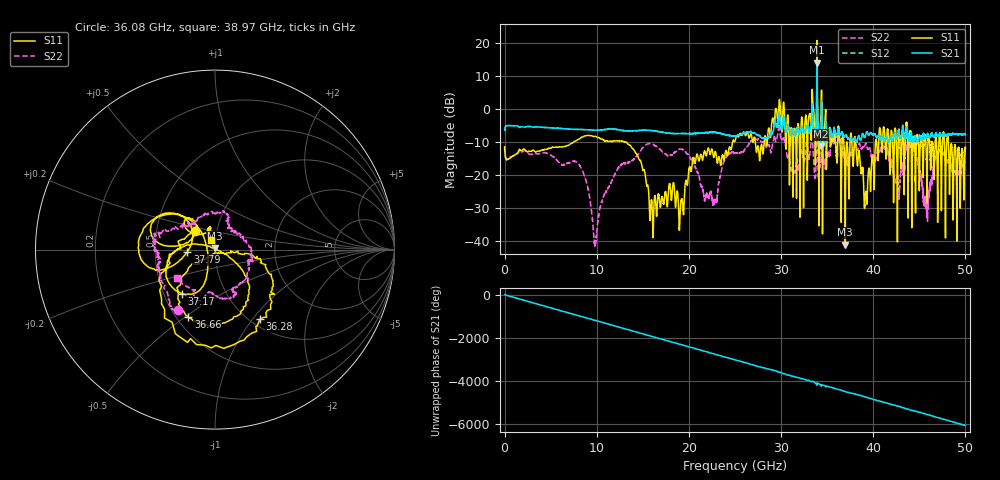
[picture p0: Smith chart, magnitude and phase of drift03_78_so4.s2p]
!Created with skrf (http://scikit-rf.org).
# Hz S RI R 50.0
!freq ReS11 ImS11 ReS21 ImS21 ReS12 ImS12 ReS22 ImS22
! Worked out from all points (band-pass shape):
!   10001 points, 300 kHz to 50 GHz, reference 50 ohm
!   highest |S21| = 14.03 dB at 33.9 GHz (marker M1); lowest = -11.4 dB at 34.32 GHz (marker M2)
!   |S21| within 3 dB of the highest: 33.89005 GHz to 33.90381 GHz (13.76 MHz wide, 0.0406 % of centre)
!   lowest |S11| = -41.0 dB at 36.97 GHz (marker M3), VSWR 1.02, Z = 49.7 + j0.844 ohm
!   |S11| at or under -10 dB: start of sweep to 7.486 GHz; 13.13 GHz to 24.74 GHz (11.62 GHz wide, 61.4 % of centre); 38.09 GHz to 40.25 GHz (2.157 GHz wide, 5.51 % of centre) (the widest 3 of 51)
!   |S22| runs from -41.5 to 6.5 dB; largest |S21 - S12| = 0.37
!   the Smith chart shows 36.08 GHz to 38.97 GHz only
!   S11 on the Smith chart (normalised r, x): 36.08 GHz: 0.78, +0.16; 36.28 GHz: 1.10, -1.09; 36.66 GHz: 0.57, -0.52; 37.17 GHz: 0.62, -0.34; 37.79 GHz: 0.73, -0.02; 38.97 GHz: 0.95, +0.11
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300000  -0.237 -0.1251  0.4671 0.0814  0.4658 0.0813  -0.2352 -0.1282
1.440291e9  0.2099 0.0647  -0.5478 -0.0298  -0.5479 -0.0295  0.2116 -0.00402
2.915283e9  -0.2123 -0.088  0.5342 0.0518  0.5351 0.0517  -0.2019 0.0401
8.33525e9  0.2888 -0.233  0.1452 0.466  0.1452 0.4665  -0.0724 -0.1018
9.840241e9  -0.3649 0.1252  -0.1425 -0.454  -0.1425 -0.4541  0.00876 0.00183
1.66702e10  0.0268 0.0432  -0.3781 0.2524  -0.3795 0.2526  -0.1289 -0.2206
2.500015e10  -0.3263 -0.0159  -0.2546 -0.2981  -0.2527 -0.3002  -0.2128 0.0281
2.895513e10  -0.3262 0.4314  -0.2896 0.3247  -0.2995 0.2888  0.0655 0.2222
3.006512e10  0.4001 0.2658  0.4519 -0.1954  0.4548 -0.1816  0.1779 -0.2971
3.171011e10  -0.0921 0.1876  -0.363 0.3568  -0.3637 0.3536  0.0648 0.1592
3.33351e10  0.6424 -0.811  0.2612 -0.8465  0.2646 -0.8271  -0.1838 -0.4286
3.38951e10  -2.844 -10.47  -4.939 0.9587  -4.638 1.171  0.5836 2.035
3.432009e10  -0.7772 -0.00201  -0.1816 0.2001  -0.2444 0.1792  0.1434 -0.0746
3.607508e10  -0.1131 0.1021  0.2696 -0.3093  0.2752 -0.3034  -0.2047 -0.3354
3.628008e10  0.2506 -0.388  0.1561 -0.4084  0.1603 -0.3955  -0.3036 -0.1419
3.666008e10  -0.1478 -0.3776  -0.2331 -0.3661  -0.2357 -0.3751  -0.2577 0.1051
3.697008e10  -0.00268 0.00848  -0.3781 -0.1036  -0.3766 -0.1071  0.00418 0.1986
3.717008e10  -0.1831 -0.245  -0.377 -0.00591  -0.3691 -0.00712  0.0851 0.1254
3.778507e10  -0.1543 -0.0129  -0.0818 0.3132  -0.0794 0.3128  0.1551 -0.1775
3.897007e10  -0.0241 0.056  0.3578 -0.1479  0.3614 -0.1523  -0.212 -0.1564
4.167005e10  -0.2076 0.2999  0.3161 0.00245  0.3154 0.00813  -0.189 -0.00962
5e10  -0.1162 -0.2198  0.1448 0.3839  0.1423 0.3844  -0.0539 -0.1446
